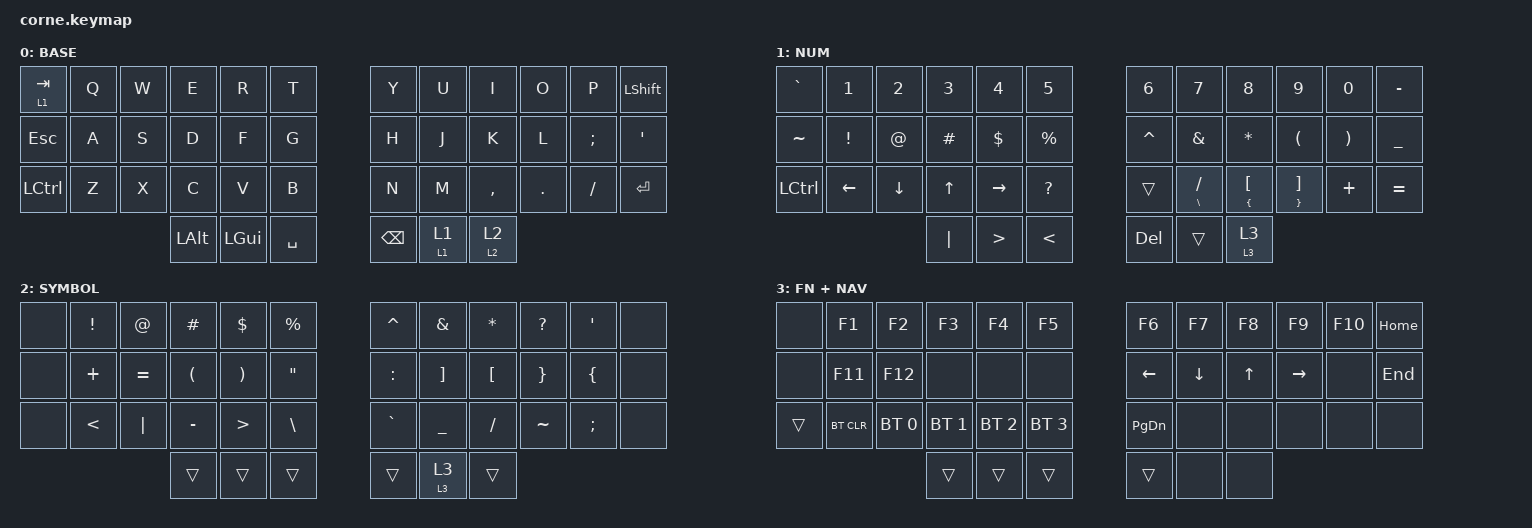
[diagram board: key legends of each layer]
/*
 * Copyright (c) 2020 The ZMK Contributors
 *
 * SPDX-License-Identifier: MIT
 */

#include <behaviors.dtsi>
#include <dt-bindings/zmk/bt.h>
#include <dt-bindings/zmk/keys.h>

/ {
    behaviors {
        // Override sticky layer default timeout (wait indefinitely until key press)

        /omit-if-no-ref/

        sl: sticky_layer {
            compatible = "zmk,behavior-sticky-key";
            #binding-cells = <1>;
            bindings = <&mo>;
            release-after-ms = <5000>;  // 5 seconds timeout (increase if needed)
            quick-release;              // Release immediately after key press
        };

        // Hold-tap behavior: tap = one-shot layer (sl), hold = momentary layer (mo)

        ht_layer: hold_tap_layer {
            compatible = "zmk,behavior-hold-tap";
            #binding-cells = <2>;
            flavor = "tap-preferred";
            tapping-term-ms = <200>;
            quick-tap-ms = <150>;
            bindings = <&mo>, <&sl>;
        };

        // Hold-tap behavior for Tab: tap = TAB, hold = activate NUM layer (layer 1)

        ht_tab: hold_tap_tab {
            compatible = "zmk,behavior-hold-tap";
            #binding-cells = <2>;
            flavor = "tap-preferred";
            tapping-term-ms = <200>;
            quick-tap-ms = <150>;
            bindings = <&mo>, <&kp>;
        };

        long_press: long_press {
            compatible = "zmk,behavior-hold-tap";
            label = "LONG_PRESS";
            bindings = <&kp>, <&kp>;

            #binding-cells = <2>;
            tapping-term-ms = <350>;
            flavor = "tap-preferred";
        };

        hmr_r: hmr_r {
            compatible = "zmk,behavior-hold-tap";
            label = "HMR_R";
            bindings = <&kp>, <&kp>;

            #binding-cells = <2>;
            tapping-term-ms = <200>;
            hold-while-undecided;
            hold-trigger-on-release;
            flavor = "tap-preferred";
            hold-trigger-key-positions = <0 1 5 12 13 14 15 16 17 24 25 26 27 28 29 36 37 38 2 3 4>;
        };

        hmr_l: hmr_l {
            compatible = "zmk,behavior-hold-tap";
            label = "HMR_L";
            bindings = <&kp>, <&kp>;

            #binding-cells = <2>;
            tapping-term-ms = <200>;
            hold-while-undecided;
            hold-trigger-on-release;
            flavor = "tap-preferred";
            hold-trigger-key-positions = <6 7 8 9 10 11 18 19 20 21 22 23 30 31 32 33 34 35 39 40 41>;
        };
    };

    combos {
        compatible = "zmk,combos";

        open_parent {
            bindings = <&kp LEFT_PARENTHESIS>;
            key-positions = <4 5>;
        };

        close_parent {
            bindings = <&kp RIGHT_PARENTHESIS>;
            key-positions = <6 7>;
        };

        open_brace {
            bindings = <&kp LEFT_BRACE>;
            key-positions = <16 17>;
        };

        close_brace {
            bindings = <&kp RIGHT_BRACE>;
            key-positions = <18 19>;
        };

        open_bracket {
            bindings = <&kp LEFT_BRACKET>;
            key-positions = <28 29>;
        };

        close_bracket {
            bindings = <&kp RIGHT_BRACKET>;
            key-positions = <30 31>;
        };
    };

    keymap {
        compatible = "zmk,keymap";

        default_layer {
            label = "BASE";

            //╭──────────┬──────────┬──────────┬──────────┬──────────┬──────────╮   ╭──────────┬──────────┬──────────┬──────────┬──────────┬──────────╮
            //│  TAB     │  Q       │  W       │  E       │  R       │  T       │   │  Y       │  U       │  I       │  O       │  P       │  CTRL    │
            //├──────────┼──────────┼──────────┼──────────┼──────────┼──────────┤   ├──────────┼──────────┼──────────┼──────────┼──────────┼──────────┤
            //│  ESC     │  A       │  S       │  D       │  F       │  G       │   │  H       │  J       │  K       │  L       │  ;       │  '       │
            //├──────────┼──────────┼──────────┼──────────┼──────────┼──────────┤   ├──────────┼──────────┼──────────┼──────────┼──────────┼──────────┤
            //│  SHIFT   │  Z       │  X       │  C       │  V       │  B       │   │  N       │  M       │  ,       │  .       │  /       │ ENTER    │
            //╰──────────┴──────────┴──────────┼──────────┼──────────┼──────────┤   ├──────────┼──────────┼──────────┼──────────┴──────────┴──────────╯
            //                                 │  ALT     │  GUI     │  SPACE   │   │  BSPC    │  OSL1    │  OSL2    │
            //                                 ╰──────────┴──────────┴──────────╯   ╰──────────┴──────────┴──────────╯

            bindings = <
&ht_tab 1 TAB     &kp Q  &kp W  &kp E         &kp R         &kp T        &kp Y     &kp U          &kp I          &kp O    &kp P     &kp LEFT_SHIFT
&kp ESCAPE        &kp A  &kp S  &kp D         &kp F         &kp G        &kp H     &kp J          &kp K          &kp L    &kp SEMI  &kp SQT
&kp LEFT_CONTROL  &kp Z  &kp X  &kp C         &kp V         &kp B        &kp N     &kp M          &kp COMMA      &kp DOT  &kp FSLH  &kp RET
                                &kp LEFT_ALT  &kp LEFT_GUI  &kp SPACE    &kp BSPC  &ht_layer 1 1  &ht_layer 2 2
            >;
        };

        number_layer {
            label = "NUM";

            //╭──────────┬──────────┬──────────┬──────────┬──────────┬──────────╮   ╭──────────┬──────────┬──────────┬──────────┬──────────┬──────────╮
            //│  ▽       │  `       │          │          │          │          │   │          │  -       │  =       │  [       │  ]       │  ▽ CTRL  │
            //├──────────┼──────────┼──────────┼──────────┼──────────┼──────────┤   ├──────────┼──────────┼──────────┼──────────┼──────────┼──────────┤
            //│  ▽       │  1       │  2       │  3       │  4       │  5       │   │  6       │  7       │  8       │  9       │  0       │  ▽       │
            //├──────────┼──────────┼──────────┼──────────┼──────────┼──────────┤   ├──────────┼──────────┼──────────┼──────────┼──────────┼──────────┤
            //│  ▽       │  \       │          │          │          │          │   │          │          │  ▽       │  ▽       │  ▽       │  ▽       │
            //╰──────────┴──────────┴──────────┼──────────┼──────────┼──────────┤   ├──────────┼──────────┼──────────┼──────────┴──────────┴──────────╯
            //                                 │  ▽       │  ▽       │  ▽       │   │  ▽ BSPC  │  ▽ OSL1  │  OSL3    │
            //                                 ╰──────────┴──────────┴──────────╯   ╰──────────┴──────────┴──────────╯

            bindings = <
&kp GRAVE         &kp N1           &kp N2       &kp N3        &kp N4            &kp N5           &kp N6     &kp N7                       &kp N8                               &kp N9                                 &kp N0                 &kp MINUS
&kp TILDE         &kp EXCLAMATION  &kp AT_SIGN  &kp HASH      &kp DOLLAR        &kp PERCENT      &kp CARET  &kp AMPERSAND                &kp ASTERISK                         &kp LEFT_PARENTHESIS                   &kp RIGHT_PARENTHESIS  &kp UNDERSCORE
&kp LEFT_CONTROL  &kp LEFT         &kp DOWN     &kp UP_ARROW  &kp RIGHT         &kp QUESTION     &trans     &long_press BACKSLASH SLASH  &long_press LEFT_BRACE LEFT_BRACKET  &long_press RIGHT_BRACE RIGHT_BRACKET  &kp PLUS               &kp EQUAL
                                                &kp PIPE      &kp GREATER_THAN  &kp LESS_THAN    &kp DEL    &trans                       &ht_layer 3 3
            >;
        };

        symbol_layer {
            label = "SYMBOL";

            //╭──────────┬──────────┬──────────┬──────────┬──────────┬──────────╮   ╭──────────┬──────────┬──────────┬──────────┬──────────┬──────────╮
            //│          │  !       │  @       │  #       │  $       │  %       │   │  ^       │  &       │  *       │  ?       │  '       │          │
            //├──────────┼──────────┼──────────┼──────────┼──────────┼──────────┤   ├──────────┼──────────┼──────────┼──────────┼──────────┼──────────┤
            //│          │  +       │  =       │  (       │  )       │  "       │   │  :       │  ]       │  [       │  }       │  {       │          │
            //├──────────┼──────────┼──────────┼──────────┼──────────┼──────────┤   ├──────────┼──────────┼──────────┼──────────┼──────────┼──────────┤
            //│          │  <       │  |       │  -       │  >       │  \       │   │  `       │  _       │  /       │  ~       │  ;       │          │
            //╰──────────┴──────────┴──────────┼──────────┼──────────┼──────────┤   ├──────────┼──────────┼──────────┼──────────┴──────────┴──────────╯
            //                                 │          │          │          │   │  ▽ BSPC  │  ▽ OSL1  │          │
            //                                 ╰──────────┴──────────┴──────────╯   ╰──────────┴──────────┴──────────╯

            bindings = <
&none  &kp EXCL  &kp AT     &kp HASH   &kp DLLR  &kp PRCNT    &kp CARET  &kp AMPS       &kp ASTRK  &kp QMARK  &kp SQT   &none
&none  &kp PLUS  &kp EQUAL  &kp LPAR   &kp RPAR  &kp DQT      &kp COLON  &kp RBKT       &kp LBKT   &kp RBRC   &kp LBRC  &none
&none  &kp LT    &kp PIPE   &kp MINUS  &kp GT    &kp BSLH     &kp GRAVE  &kp UNDER      &kp FSLH   &kp TILDE  &kp SEMI  &none
                            &trans     &trans    &trans       &trans     &ht_layer 3 3  &trans
            >;
        };

        fn_layer {
            label = "FN + NAV";

            //╭──────────┬──────────┬──────────┬──────────┬──────────┬──────────╮   ╭──────────┬──────────┬──────────┬──────────┬──────────┬──────────╮
            //│  BT CLR  │  BT 0    │  BT 1    │  BT 2    │  BT 3    │  BT 4    │   │          │          │          │          │  PG UP   │  HOME    │
            //├──────────┼──────────┼──────────┼──────────┼──────────┼──────────┤   ├──────────┼──────────┼──────────┼──────────┼──────────┼──────────┤
            //│          │          │  F5      │  F6      │  F7      │  F8      │   │  ←       │  ↓       │  ↑       │  →       │          │  END     │
            //├──────────┼──────────┼──────────┼──────────┼──────────┼──────────┤   ├──────────┼──────────┼──────────┼──────────┼──────────┼──────────┤
            //│  ▽       │          │  F9      │  F10     │  F11     │  F12     │   │  PG DN   │  F1      │  F2      │  F3      │  F4      │          │
            //╰──────────┴──────────┴──────────┼──────────┼──────────┼──────────┤   ├──────────┼──────────┼──────────┼──────────┴──────────┴──────────╯
            //                                 │  ▽       │  ▽       │  ▽       │   │  ▽ BSPC  │  OSL3    │  ▽ OSL2  │
            //                                 ╰──────────┴──────────┴──────────╯   ╰──────────┴──────────┴──────────╯

            bindings = <
&none   &kp F1      &kp F2        &kp F3        &kp F4        &kp F5          &kp F6     &kp F7    &kp F8  &kp F9     &kp F10  &kp HOME
&none   &kp F11     &kp F12       &none         &none         &none           &kp LEFT   &kp DOWN  &kp UP  &kp RIGHT  &none    &kp END
&trans  &bt BT_CLR  &bt BT_SEL 0  &bt BT_SEL 1  &bt BT_SEL 2  &bt BT_SEL 3    &kp PG_DN  &none     &none   &none      &none    &none
                                  &trans        &trans        &trans          &trans     &none     &none
            >;
        };
    };
};
